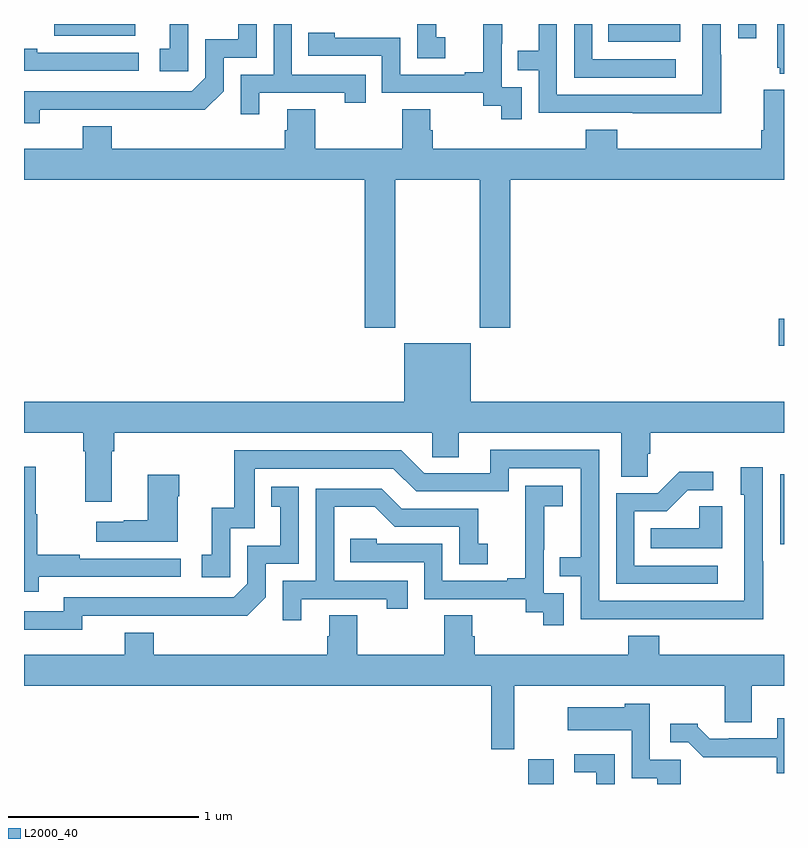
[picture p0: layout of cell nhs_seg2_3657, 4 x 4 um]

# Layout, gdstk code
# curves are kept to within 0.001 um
import gdstk
lib = gdstk.Library(unit=1e-6, precision=1e-09)
def R(c, l, rs):  # rectangles x0, y0, x1, y1
    for r in rs: c.add(gdstk.rectangle(r[:2], r[2:], *l))
def P(c, l, *ps):  # polygons
    for p in ps: c.add(gdstk.Polygon(p, *l))
L2000_40 = (2000, 40)

nhs_seg2_3657 = lib.new_cell('nhs_seg2_3657')
R(nhs_seg2_3657, L2000_40, [(305.654,633.8,305.788,633.931), (306.981,635.061,307,635.43), (306.972,636.106,307,636.248), (306.076,637.706,306.454,637.8), (306.759,637.725,306.855,637.8), (303.159,637.739,303.586,637.8)])
P(nhs_seg2_3657, L2000_40, [(307,637.8),(306.965,637.8),(306.965,637.569),(306.977,637.569),(306.977,637.538),(307,637.538)],
  [(306.43,637.614),(305.991,637.614),(305.991,637.8),(305.895,637.8),(305.895,637.518),(306.43,637.518)],
  [(305.619,637.467),(305.514,637.467),(305.514,637.697),(305.516,637.697),(305.516,637.8),(305.417,637.8),(305.417,637.546),(305.321,637.546),(305.321,637.533),(304.98,637.533),(304.98,637.728),(304.635,637.728),(304.635,637.755),(304.495,637.755),(304.495,637.632),(304.884,637.632),(304.884,637.437),(305.418,637.437),(305.418,637.369),(305.511,637.369),(305.511,637.299),(305.619,637.299)],
  [(303.084,637.35),(303.952,637.349),(304.05,637.446),(304.05,637.623),(304.224,637.623),(304.224,637.8),(304.127,637.8),(304.127,637.719),(303.954,637.719),(303.954,637.518),(303.882,637.446),(303,637.446),(303,637.277),(303.084,637.277)],
  [(305.218,637.729),(305.169,637.729),(305.169,637.8),(305.07,637.8),(305.07,637.62),(305.218,637.62)],
  [(304.237,637.437),(304.688,637.437),(304.688,637.386),(304.799,637.386),(304.799,637.533),(304.41,637.533),(304.41,637.8),(304.314,637.8),(304.314,637.533),(304.14,637.533),(304.14,637.326),(304.237,637.326)],
  [(306.669,637.637),(306.666,637.637),(306.666,637.8),(306.57,637.8),(306.57,637.428),(305.805,637.428),(305.805,637.8),(305.709,637.8),(305.709,637.658),(305.599,637.658),(305.599,637.557),(305.709,637.557),(305.709,637.332),(306.205,637.332),(306.205,637.331),(306.669,637.331)],
  [(303.864,637.8),(303.767,637.8),(303.767,637.671),(303.714,637.671),(303.714,637.551),(303.864,637.551)],
  [(303.604,637.65),(303.071,637.65),(303.071,637.67),(303,637.67),(303,637.554),(303.604,637.554)],
  [(304.953,636.98),(305.398,636.98),(305.398,636.201),(305.558,636.201),(305.558,636.98),(307,636.98),(307,637.453),(306.893,637.453),(306.893,637.24),(306.881,637.24),(306.881,637.144),(306.122,637.144),(306.122,637.243),(305.957,637.243),(305.957,637.144),(305.15,637.144),(305.15,637.242),(305.137,637.242),(305.137,637.352),(304.99,637.352),(304.99,637.144),(304.533,637.144),(304.533,637.352),(304.385,637.352),(304.385,637.242),(304.373,637.242),(304.373,637.144),(303.461,637.144),(303.461,637.261),(303.308,637.261),(303.308,637.144),(303,637.144),(303,636.98),(304.793,636.98),(304.793,636.201),(304.953,636.201)],
  [(303.463,635.552),(303.476,635.552),(303.476,635.648),(305.148,635.648),(305.148,635.521),(305.287,635.521),(305.287,635.648),(306.143,635.648),(306.143,635.416),(306.282,635.416),(306.282,635.539),(306.296,635.539),(306.296,635.648),(307,635.648),(307,635.812),(305.35,635.812),(305.35,636.121),(305,636.121),(305,635.812),(303,635.812),(303,635.648),(303.311,635.648),(303.311,635.552),(303.323,635.552),(303.323,635.286),(303.463,635.286)],
  [(306.891,634.973),(306.888,634.973),(306.888,635.467),(306.773,635.467),(306.773,635.322),(306.792,635.322),(306.792,634.764),(306.027,634.764),(306.027,635.559),(305.453,635.559),(305.453,635.436),(305.106,635.436),(304.986,635.556),(304.107,635.556),(304.107,635.254),(303.989,635.254),(303.989,635.007),(303.936,635.007),(303.936,634.887),(304.086,634.887),(304.086,635.145),(304.215,635.145),(304.215,635.46),(304.944,635.46),(305.064,635.34),(305.55,635.34),(305.55,635.463),(305.931,635.463),(305.931,634.994),(305.821,634.994),(305.821,634.893),(305.931,634.893),(305.931,634.668),(306.891,634.667)],
  [(303.077,634.89),(303.826,634.89),(303.826,634.986),(303.293,634.986),(303.293,635.006),(303.07,635.006),(303.07,635.22),(303.062,635.22),(303.062,635.47),(303,635.47),(303,634.812),(303.077,634.812)],
  [(306.652,634.95),(306.213,634.95),(306.213,635.235),(306.382,635.235),(306.493,635.346),(306.628,635.346),(306.628,635.444),(306.449,635.444),(306.336,635.331),(306.117,635.331),(306.117,634.854),(306.652,634.854)],
  [(303.808,635.315),(303.816,635.315),(303.816,635.428),(303.65,635.428),(303.65,635.189),(303.524,635.189),(303.524,635.179),(303.381,635.179),(303.381,635.075),(303.808,635.075)],
  [(305.841,634.803),(305.736,634.803),(305.736,635.033),(305.738,635.033),(305.738,635.261),(305.836,635.261),(305.836,635.371),(305.638,635.371),(305.638,635.165),(305.639,635.165),(305.639,634.882),(305.543,634.882),(305.543,634.869),(305.202,634.869),(305.202,635.064),(304.857,635.064),(304.857,635.091),(304.717,635.091),(304.717,634.968),(305.106,634.968),(305.106,634.773),(305.64,634.773),(305.64,634.705),(305.733,634.705),(305.733,634.635),(305.841,634.635)],
  [(303.306,634.686),(304.174,634.685),(304.272,634.782),(304.272,634.959),(304.446,634.959),(304.446,635.365),(304.3,635.365),(304.3,635.259),(304.349,635.259),(304.349,635.055),(304.176,635.055),(304.176,634.854),(304.104,634.782),(303.21,634.782),(303.21,634.71),(303,634.71),(303,634.613),(303.306,634.613)],
  [(304.459,634.773),(304.91,634.773),(304.91,634.722),(305.021,634.722),(305.021,634.869),(304.632,634.869),(304.632,635.258),(304.846,635.258),(304.95,635.154),(305.292,635.154),(305.292,634.956),(305.44,634.956),(305.44,635.065),(305.391,635.065),(305.391,635.25),(304.987,635.25),(304.882,635.355),(304.536,635.355),(304.536,634.869),(304.362,634.869),(304.362,634.662),(304.459,634.662)],
  [(306.676,635.261),(306.555,635.261),(306.555,635.146),(306.298,635.146),(306.298,635.042),(306.676,635.042)],
  [(305.579,634.316),(306.689,634.316),(306.689,634.126),(306.829,634.126),(306.829,634.316),(307,634.316),(307,634.48),(306.344,634.48),(306.344,634.579),(306.179,634.579),(306.179,634.48),(305.372,634.48),(305.372,634.578),(305.359,634.578),(305.359,634.688),(305.212,634.688),(305.212,634.48),(304.755,634.48),(304.755,634.688),(304.607,634.688),(304.607,634.578),(304.595,634.578),(304.595,634.48),(303.683,634.48),(303.683,634.597),(303.53,634.597),(303.53,634.48),(303,634.48),(303,634.316),(305.458,634.316),(305.458,633.984),(305.579,633.984)],
  [(306.457,633.927),(306.294,633.927),(306.294,634.222),(306.162,634.222),(306.162,634.204),(305.862,634.204),(305.862,634.082),(306.198,634.082),(306.198,633.83),(306.332,633.83),(306.332,633.8),(306.457,633.8)],
  [(307,634.147),(306.965,634.147),(306.965,634.041),(306.709,634.041),(306.709,634.038),(306.61,634.038),(306.546,634.102),(306.546,634.117),(306.402,634.117),(306.402,634.02),(306.495,634.02),(306.574,633.942),(306.963,633.942),(306.963,633.857),(307,633.857)],
  [(306.108,633.957),(305.895,633.957),(305.895,633.861),(306.012,633.861),(306.012,633.8),(306.108,633.8)])

lib.write_gds('nhs_seg2_3657.gds')
